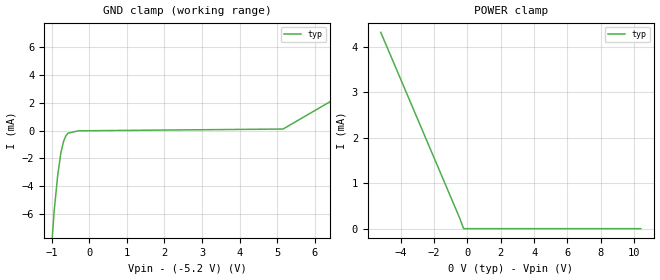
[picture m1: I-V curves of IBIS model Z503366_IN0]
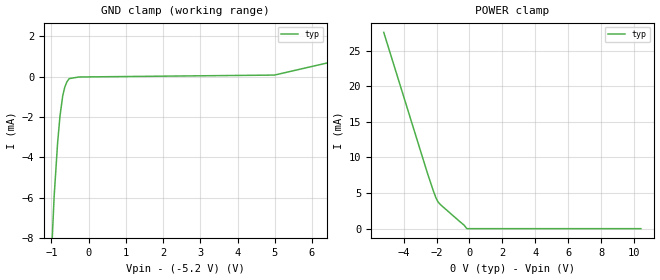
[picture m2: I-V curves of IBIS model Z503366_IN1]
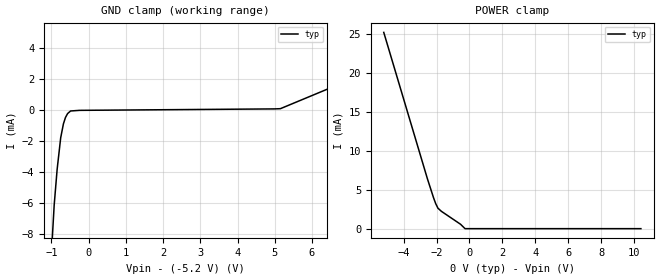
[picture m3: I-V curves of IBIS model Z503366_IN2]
| YOU ARE ONLY AUTHORIZED TO USE THIS SOFTWARE
| ACCORDING TO LICENSOR'S LICENSE RESTRICTIONS.
[IBIS Ver] 3.1
[File Name] mc100e141fn.ibs
[File Rev] 0.1
[Source] Derived from mc100e155fn.ibs Measured and created by ICX
|   Technology
[Date] Thursday 3/1/01
[Copyright]
| (C) COPYRIGHT 1993-2000
| MENTOR GRAPHICS CORPORATION
| ICX STANDARD LIBRARY, ICX PROJECT MODELING,
| ICX CUSTOM MODELING, ICX VENDOR MODEL
| ALL RIGHTS RESERVED.
| THE FOLLOWING ARE TRADEMARKS OR SERVICE MARKS OF
| MENTOR GRAPHICS CORPORATION:ICX (R), ICX STANDARD
| LIBRARY(R), ICX PROJECT MODELING(R), ICX CUSTOM
| MODELING(R), qualityIBIS(TM), MODELVIEWER(TM),
| AND MODELEDITOR(TM)
| ALL COPIES OF SOFTWARE, INCLUDING BUT NOT LIMITED TO
| ANY MODIFICATIONS, ENHANCEMENTS OR DERIVATIVE WORKS,
| MUST CONTAIN ALL MENTOR GRAPHICS CORPORATION'S
| NOTICES AND LEGENDS, INCLUDING THOSE EMBEDDED IN
| SOFTWARE AND THOSE AFFIXED TO SOFTWARE MEDIUM
| AND CONTAINER, AS RECEIVED FROM MENTOR GRAPHICS
| CORPORATION.
|  ZAP Model Builder 2.7
[Component] MC100E141FN
[Manufacturer] OnSemiconductor
[Package]
| variable   typ   min   max
R_pkg  .083ohms NA NA
L_pkg  4.299nH NA NA
C_pkg  1.045pF NA NA
[Pin] signal_name  model_name  R_pin  L_pin C_pin
1 VEE POWER .08 3.94n .925p
2 DR Z503366_IN2 .086 4.583n 1.135p
3 D0 Z503366_IN2 .086 4.583n 1.135p
4 D1 Z503366_IN2 .086 4.583n 1.135p
5 D2 Z503366_IN2 .086 4.583n 1.135p
6 D3 Z503366_IN2 .086 4.583n 1.135p
7 D4 Z503366_IN2 .086 4.583n 1.135p
8 VCCO POWER .084 4.354n 1.065p
9 Q0 Z503366_OUT0 .086 4.583n 1.135p
10 Q1 Z503366_OUT0 .086 4.583n 1.135p
11 Q2 Z503366_OUT0 .086 4.583n 1.135p
12 Q3 Z503366_OUT0 .086 4.583n 1.135p
13 Q4 Z503366_OUT0 .086 4.583n 1.135p
14 VCCO POWER .084 4.354n 1.065p
15 NC NC .084 4.354n 1.065p
16 VCC POWER .082 4.14n .995p
17 Q5 Z503366_OUT0 .086 4.583n 1.135p
18 Q6 Z503366_OUT0 .086 4.583n 1.135p
19 Q7 Z503366_OUT0 .086 4.583n 1.135p
20 VCCO POWER .084 4.354n 1.065p
21 D5 Z503366_IN2 .086 4.583n 1.135p
22 D6 Z503366_IN2 .086 4.583n 1.135p
23 D7 Z503366_IN2 .086 4.583n 1.135p
24 DL Z503366_IN2 .086 4.583n 1.135p
25 SEL0 Z503366_IN1 .084 4.354n 1.065p
26 SEL1 Z503366_IN1 .084 4.354n 1.065p
27 CLK Z503366_IN1 .084 4.354n 1.065p
28 MR Z503366_IN0 .082 4.14n .995p
| Models and submodels in the file (4): Z503366_IN0 (Input_ECL), Z503366_IN1 (Input_ECL), Z503366_IN2 (Input_ECL), Z503366_OUT0 (Output_ECL)
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| (C) COPYRIGHT 1993-2000
| MENTOR GRAPHICS CORPORATION
| ICX STANDARD LIBRARY, ICX PROJECT MODELING,
| ICX CUSTOM MODELING, ICX VENDOR MODEL
| ALL RIGHTS RESERVED.
| THE FOLLOWING ARE TRADEMARKS OR SERVICE MARKS OF
| MENTOR GRAPHICS CORPORATION:ICX (R), ICX STANDARD
| LIBRARY(R), ICX PROJECT MODELING(R), ICX CUSTOM
| MODELING(R), qualityIBIS(TM), MODELVIEWER(TM),
| AND MODELEDITOR(TM)
| ALL COPIES OF SOFTWARE, INCLUDING BUT NOT LIMITED TO
| ANY MODIFICATIONS, ENHANCEMENTS OR DERIVATIVE WORKS,
| MUST CONTAIN ALL MENTOR GRAPHICS CORPORATION'S
| NOTICES AND LEGENDS, INCLUDING THOSE EMBEDDED IN
| SOFTWARE AND THOSE AFFIXED TO SOFTWARE MEDIUM
| AND CONTAINER, AS RECEIVED FROM MENTOR GRAPHICS
| CORPORATION.
| Model Application Version 1.89 2/18/99.
[Model] Z503366_IN0
Model_type Input_ECL
Vinl = -1.475V
Vinh = -1.165V
C_comp 2.000pF NA NA
| variable typ   min   max
[Voltage Range] -5.200V NA NA
[GND Clamp Reference] -5.200V NA NA
[POWER Clamp Reference] 0.000V NA NA
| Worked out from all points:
|   GND clamp passes 1 mA (typ) near -0.70 V on its own axis
[GND Clamp]
-5.2V     -224.7mA   NA         NA
-1.118V   -12.87mA   NA         NA
-929mV    -5.762mA   NA         NA
-835mV    -3.2mA     NA         NA
-752mV    -1.599mA   NA         NA
-679mV    -768.7uA   NA         NA
-625mV    -416.7uA   NA         NA
-567mV    -192.9uA   NA         NA
-283.5mV  -19.85uA   NA         NA
5.151V    107.2uA    NA         NA
10.4V     8.384mA    NA         NA
[POWER Clamp]
-5.2V     4.311mA    NA         NA
-458.7mV  226.5uA    NA         NA
-229.4mV  0A         NA         NA
10.4V     0A         NA         NA
| (C) COPYRIGHT 1993-2000
| MENTOR GRAPHICS CORPORATION
| ICX STANDARD LIBRARY, ICX PROJECT MODELING,
| ICX CUSTOM MODELING, ICX VENDOR MODEL
| ALL RIGHTS RESERVED.
| THE FOLLOWING ARE TRADEMARKS OR SERVICE MARKS OF
| MENTOR GRAPHICS CORPORATION:ICX (R), ICX STANDARD
| LIBRARY(R), ICX PROJECT MODELING(R), ICX CUSTOM
| MODELING(R), qualityIBIS(TM), MODELVIEWER(TM),
| AND MODELEDITOR(TM)
| ALL COPIES OF SOFTWARE, INCLUDING BUT NOT LIMITED TO
| ANY MODIFICATIONS, ENHANCEMENTS OR DERIVATIVE WORKS,
| MUST CONTAIN ALL MENTOR GRAPHICS CORPORATION'S
| NOTICES AND LEGENDS, INCLUDING THOSE EMBEDDED IN
| SOFTWARE AND THOSE AFFIXED TO SOFTWARE MEDIUM
| AND CONTAINER, AS RECEIVED FROM MENTOR GRAPHICS
| CORPORATION.
| Model Application Version 1.89 2/18/99.
[Model] Z503366_IN1
Model_type Input_ECL
Vinl = -1.475V
Vinh = -1.165V
C_comp 2.000pF NA NA
| variable typ   min   max
[Voltage Range] -5.200V NA NA
[GND Clamp Reference] -5.200V NA NA
[POWER Clamp Reference] 0.000V NA NA
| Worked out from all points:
|   GND clamp passes 1 mA (typ) near -0.70 V on its own axis
[GND Clamp]
-5.2V     -246.8mA   NA         NA
-1.098V   -12.82mA   NA         NA
-928mV    -5.925mA   NA         NA
-835mV    -3.277mA   NA         NA
-770mV    -1.938mA   NA         NA
-698mV    -956.2uA   NA         NA
-643mV    -528uA     NA         NA
-586mV    -262.6uA   NA         NA
-525mV    -101uA     NA         NA
-262.5mV  -20uA      NA         NA
4.991V    74.53uA    NA         NA
10.4V     2.364mA    NA         NA
[POWER Clamp]
-5.2V     27.58mA    NA         NA
-2.553V   7.819mA    NA         NA
-2.182V   5.248mA    NA         NA
-2.031V   4.324mA    NA         NA
-1.914V   3.779mA    NA         NA
-1.763V   3.38mA     NA         NA
-615.1mV  1.052mA    NA         NA
-322.5mV  484.7uA    NA         NA
-161.2mV  0A         NA         NA
10.4V     0A         NA         NA
| (C) COPYRIGHT 1993-2000
| MENTOR GRAPHICS CORPORATION
| ICX STANDARD LIBRARY, ICX PROJECT MODELING,
| ICX CUSTOM MODELING, ICX VENDOR MODEL
| ALL RIGHTS RESERVED.
| THE FOLLOWING ARE TRADEMARKS OR SERVICE MARKS OF
| MENTOR GRAPHICS CORPORATION:ICX (R), ICX STANDARD
| LIBRARY(R), ICX PROJECT MODELING(R), ICX CUSTOM
| MODELING(R), qualityIBIS(TM), MODELVIEWER(TM),
| AND MODELEDITOR(TM)
| ALL COPIES OF SOFTWARE, INCLUDING BUT NOT LIMITED TO
| ANY MODIFICATIONS, ENHANCEMENTS OR DERIVATIVE WORKS,
| MUST CONTAIN ALL MENTOR GRAPHICS CORPORATION'S
| NOTICES AND LEGENDS, INCLUDING THOSE EMBEDDED IN
| SOFTWARE AND THOSE AFFIXED TO SOFTWARE MEDIUM
| AND CONTAINER, AS RECEIVED FROM MENTOR GRAPHICS
| CORPORATION.
| Model Application Version 1.89 2/18/99.
[Model] Z503366_IN2
Model_type Input_ECL
Vinl = -1.475V
Vinh = -1.165V
C_comp 2.000pF NA NA
| variable typ   min   max
[Voltage Range] -5.200V NA NA
[GND Clamp Reference] -5.200V NA NA
[POWER Clamp Reference] 0.000V NA NA
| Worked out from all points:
|   GND clamp passes 1 mA (typ) near -0.69 V on its own axis
[GND Clamp]
-5.2V     -255.9mA   NA         NA
-1.094V   -13.13mA   NA         NA
-927mV    -6.116mA   NA         NA
-848mV    -3.826mA   NA         NA
-752mV    -1.782mA   NA         NA
-679mV    -889.6uA   NA         NA
-624mV    -480.3uA   NA         NA
-567mV    -226.8uA   NA         NA
-486mV    -59.27uA   NA         NA
5.151V    88.65uA    NA         NA
10.4V     5.314mA    NA         NA
[POWER Clamp]
-5.2V     25.18mA    NA         NA
-2.553V   6.409mA    NA         NA
-2.182V   3.98mA     NA         NA
-2.05V    3.22mA     NA         NA
-1.914V   2.628mA    NA         NA
-1.703V   2.223mA    NA         NA
-538.3mV  559uA      NA         NA
-269.1mV  0A         NA         NA
10.4V     0A         NA         NA
